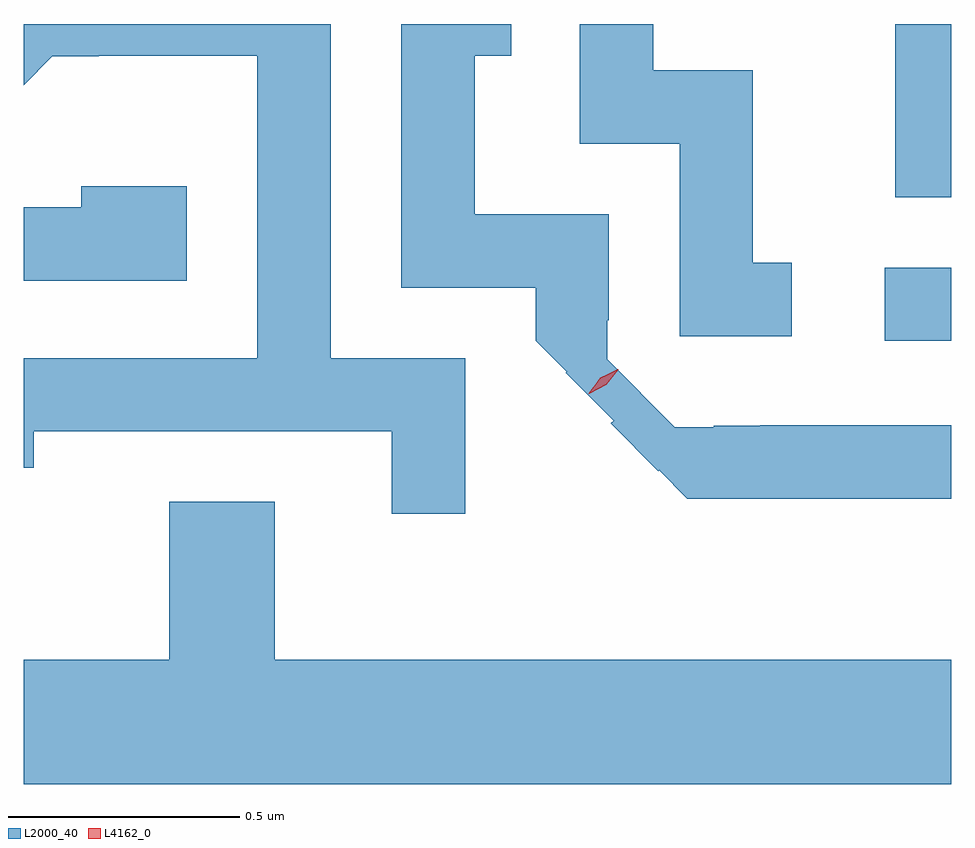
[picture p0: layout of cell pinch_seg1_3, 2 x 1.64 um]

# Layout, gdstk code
import gdstk
lib = gdstk.Library(unit=1e-6, precision=1e-09)
def R(c, l, rs):  # rectangles x0, y0, x1, y1
    for r in rs: c.add(gdstk.rectangle(r[:2], r[2:], *l))
def P(c, l, *ps):  # polygons
    for p in ps: c.add(gdstk.Polygon(p, *l))
L2000_40 = (2000, 40)
L4162_0 = (4162, 0)

pinch_seg1_3 = lib.new_cell('pinch_seg1_3')
R(pinch_seg1_3, L2000_40, [(1539.103,876.111,1539.247,876.269), (1539.126,876.421,1539.247,876.794)])
P(pinch_seg1_3, L2000_40, [(1538.903,876.279),(1538.819,876.279),(1538.819,876.694),(1538.604,876.694),(1538.604,876.794),(1538.446,876.794),(1538.446,876.536),(1538.661,876.536),(1538.661,876.121),(1538.903,876.121)],
  [(1538.199,876.074),(1537.909,876.074),(1537.909,876.794),(1537.247,876.794),(1537.247,876.662),(1537.309,876.724),(1537.409,876.724),(1537.409,876.726),(1537.751,876.726),(1537.751,876.074),(1537.247,876.074),(1537.247,875.838),(1537.269,875.838),(1537.269,875.916),(1538.041,875.916),(1538.041,875.738),(1538.199,875.738)],
  [(1539.247,875.929),(1538.835,875.929),(1538.835,875.928),(1538.735,875.928),(1538.735,875.925),(1538.651,875.925),(1538.505,876.071),(1538.505,876.155),(1538.508,876.155),(1538.508,876.384),(1538.219,876.384),(1538.219,876.726),(1538.298,876.726),(1538.298,876.794),(1538.061,876.794),(1538.061,876.226),(1538.351,876.226),(1538.351,876.111),(1538.418,876.044),(1538.416,876.042),(1538.519,875.939),(1538.513,875.933),(1538.615,875.83),(1538.617,875.832),(1538.678,875.771),(1539.247,875.771)],
  [(1537.599,876.444),(1537.371,876.444),(1537.371,876.399),(1537.247,876.399),(1537.247,876.241),(1537.599,876.241)],
  [(1539.247,875.424),(1537.789,875.424),(1537.789,875.764),(1537.561,875.764),(1537.561,875.424),(1537.247,875.424),(1537.247,875.156),(1539.247,875.156)])
P(pinch_seg1_3, L4162_0, [(1538.465,875.997),(1538.465,875.998),(1538.49,876.031),(1538.528,876.05),(1538.529,876.05),(1538.529,876.049),(1538.503,876.016),(1538.466,875.997)],
  [(1538.469,876.002),(1538.469,876.003),(1538.49,876.032),(1538.522,876.047),(1538.523,876.047),(1538.523,876.046),(1538.502,876.017),(1538.47,876.002)])

lib.write_gds('pinch_seg1_3.gds')
